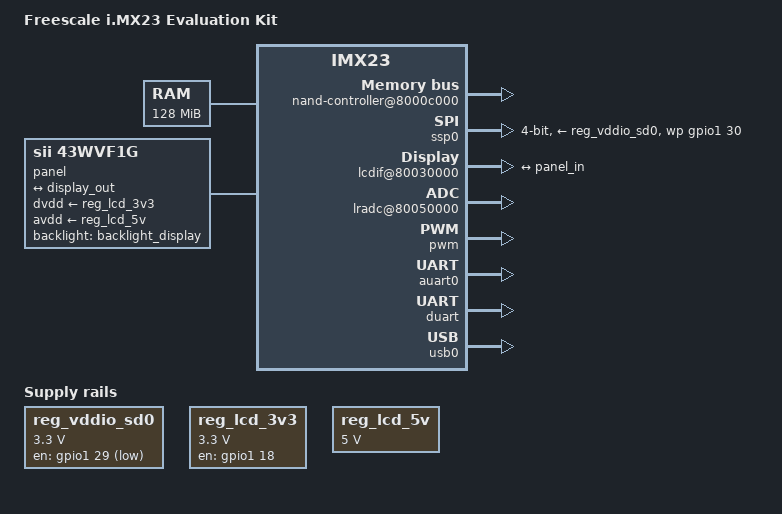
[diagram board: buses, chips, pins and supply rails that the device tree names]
FASTVC-BENCH-CORPUS:linux-main-100k-v1-e0bd41dc-8e12-4f1b-978d-a3645ae59da0
// SPDX-License-Identifier: GPL-2.0+
//
// Copyright 2012 Freescale Semiconductor, Inc.

/dts-v1/;
#include "imx23.dtsi"

/ {
	model = "Freescale i.MX23 Evaluation Kit";
	compatible = "fsl,imx23-evk", "fsl,imx23";

	memory@40000000 {
		device_type = "memory";
		reg = <0x40000000 0x08000000>;
	};

	reg_vddio_sd0: regulator-vddio-sd0 {
		compatible = "regulator-fixed";
		regulator-name = "vddio-sd0";
		regulator-min-microvolt = <3300000>;
		regulator-max-microvolt = <3300000>;
		gpio = <&gpio1 29 0>;
	};

	reg_lcd_3v3: regulator-lcd-3v3 {
		compatible = "regulator-fixed";
		regulator-name = "lcd-3v3";
		regulator-min-microvolt = <3300000>;
		regulator-max-microvolt = <3300000>;
		gpio = <&gpio1 18 0>;
		enable-active-high;
	};

	reg_lcd_5v: regulator-lcd-5v {
		compatible = "regulator-fixed";
		regulator-name = "lcd-5v";
		regulator-min-microvolt = <5000000>;
		regulator-max-microvolt = <5000000>;
	};

	panel {
		compatible = "sii,43wvf1g";
		backlight = <&backlight_display>;
		dvdd-supply = <&reg_lcd_3v3>;
		avdd-supply = <&reg_lcd_5v>;

		port {
			panel_in: endpoint {
				remote-endpoint = <&display_out>;
			};
		};
	};

	apb@80000000 {
		apbh@80000000 {
			nand-controller@8000c000 {
				pinctrl-names = "default";
				pinctrl-0 = <&gpmi_pins_a &gpmi_pins_fixup>;
				status = "okay";
			};

			ssp0: spi@80010000 {
				compatible = "fsl,imx23-mmc";
				pinctrl-names = "default";
				pinctrl-0 = <&mmc0_4bit_pins_a &mmc0_pins_fixup>;
				bus-width = <4>;
				wp-gpios = <&gpio1 30 0>;
				vmmc-supply = <&reg_vddio_sd0>;
				status = "okay";
			};

			pinctrl@80018000 {
				pinctrl-names = "default";
				pinctrl-0 = <&hog_pins_a>;

				hog_pins_a: hog@0 {
					reg = <0>;
					fsl,pinmux-ids = <
						MX23_PAD_LCD_RESET__GPIO_1_18
						MX23_PAD_PWM3__GPIO_1_29
						MX23_PAD_PWM4__GPIO_1_30
						MX23_PAD_SSP1_DETECT__SSP1_DETECT
					>;
					fsl,drive-strength = <MXS_DRIVE_4mA>;
					fsl,voltage = <MXS_VOLTAGE_HIGH>;
					fsl,pull-up = <MXS_PULL_DISABLE>;
				};
			};

			lcdif@80030000 {
				pinctrl-names = "default";
				pinctrl-0 = <&lcdif_24bit_pins_a>;
				status = "okay";

				port {
					display_out: endpoint {
						remote-endpoint = <&panel_in>;
					};
				};
			};
		};

		apbx@80040000 {
			lradc@80050000 {
				status = "okay";
				fsl,lradc-touchscreen-wires = <4>;
			};

			pwm: pwm@80064000 {
				pinctrl-names = "default";
				pinctrl-0 = <&pwm2_pins_a>;
				status = "okay";
			};

			auart0: serial@8006c000 {
/* bench 15230.1.0 733ef7674d7a */
/* bench 15230.1.1 9832b9af6526 */
/* bench 15230.1.2 5417a287b134 */
/* bench 15230.1.3 c9115743c161 */
/* bench 15230.1.4 ed59bc41a191 */
/* bench 15230.1.5 174a1b312dab */
/* bench 15230.1.6 37f6e04eb943 */
				status = "okay";
			};

			duart: serial@80070000 {
				pinctrl-names = "default";
				pinctrl-0 = <&duart_pins_a>;
				status = "okay";
			};

			usbphy0: usbphy@8007c000 {
				status = "okay";
			};
		};
	};

	ahb@80080000 {
		usb0: usb@80080000 {
			status = "okay";
		};
	};

	backlight_display: backlight {
/* bench 22411.0.0 a4a20fd69c9e */
/* bench 22411.0.1 c6222c60f41d */
/* bench 22411.0.2 24c1236cede6 */
/* bench 22411.0.3 a1347cd8db32 */
/* bench 22411.0.4 6e88c785a779 */
/* bench 22411.0.5 fd0fd50871ac */
/* bench 22411.0.6 1d62803b412b */
/* bench 22411.0.7 4b70b59edd2b */
/* bench 22411.0.8 3a26c9fc16a6 */
/* bench 22411.0.9 31a459375167 */
		default-brightness-level = <6>;
	};
};
